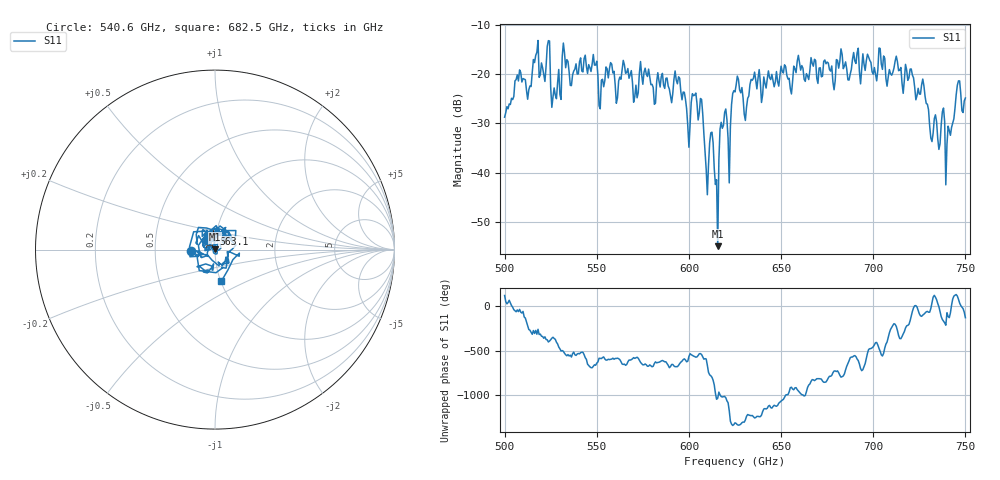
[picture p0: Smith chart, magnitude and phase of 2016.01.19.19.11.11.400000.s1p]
!Created with skrf (http://scikit-rf.org).
# GHz S RI R 50.0
!freq ReS11 ImS11
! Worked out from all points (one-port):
!   401 points, 500 GHz to 750 GHz, reference 50 ohm
!   lowest |S11| = -54.9 dB at 615.6 GHz (marker M1), VSWR 1.00, Z = 50.1 + j0.126 ohm
!   |S11| at or under -10 dB: start of sweep to end of sweep
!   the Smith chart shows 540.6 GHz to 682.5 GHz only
!   S11 on the Smith chart (normalised r, x): 540.6 GHz: 0.77, -0.01; 563.1 GHz: 0.97, +0.17; 682.5 GHz: 1.01, -0.37
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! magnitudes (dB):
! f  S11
! 500 GHz  -28.8
! 507.5 GHz  -21.4
! 513.1 GHz  -23.2
! 516.9 GHz  -16.3
! 523.8 GHz  -13.3
! 526.9 GHz  -22.8
! 531.2 GHz  -16.5
! 540.6 GHz  -17.6
! 562.5 GHz  -20.6
! 563.1 GHz  -21.1
! 593.8 GHz  -22.0
! 599.4 GHz  -30.5
! 606.9 GHz  -25.2
! 609.4 GHz  -39.4
! 612.5 GHz  -31.8
! 615.6 GHz  -54.9
! 618.1 GHz  -31.0
! 621.9 GHz  -42.1
! 625 GHz  -23.6
! 630.6 GHz  -29.4
! 635 GHz  -20.9
! 656.2 GHz  -21.5
! 682.5 GHz  -14.9
! 687.5 GHz  -20.1
! 718.8 GHz  -21.3
! 740.6 GHz  -30.6
! 745.6 GHz  -22.3
! 750 GHz  -24.9
